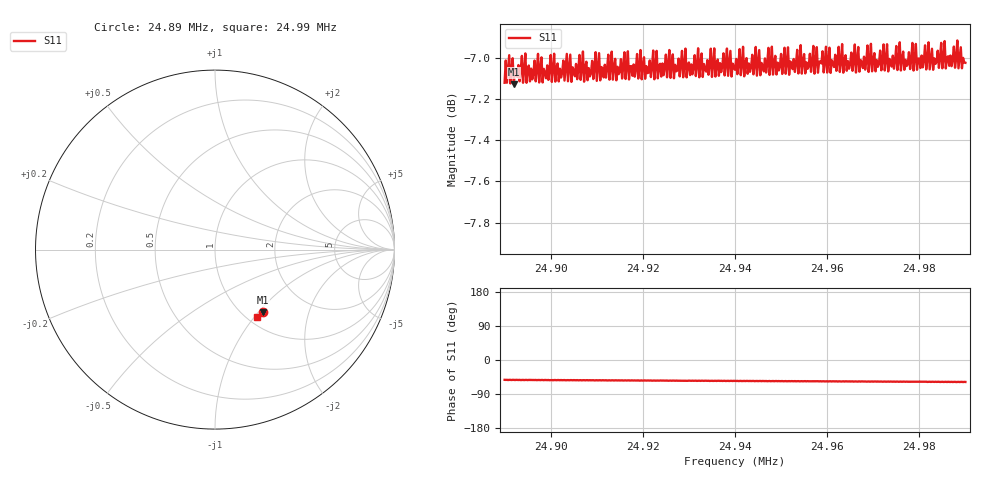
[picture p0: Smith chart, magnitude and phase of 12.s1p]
# Hz S RI R 50
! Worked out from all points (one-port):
!   401 points, 24.89 MHz to 24.99 MHz, reference 50 ohm
!   lowest |S11| = -7.1 dB at 24.892 MHz (marker M1), VSWR 2.57, Z = 61.4 - j53.1 ohm
!   |S11| at or under -10 dB: nowhere
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2.489e7  0.2693 -0.3487
2.489125e7  0.2687 -0.3489
2.4892e7  0.2684 -0.3489
2.48975e7  0.2668 -0.3507
2.489875e7  0.2682 -0.3525
2.490025e7  0.2658 -0.3516
2.49025e7  0.2647 -0.3553
2.490375e7  0.2649 -0.3525
2.4915e7  0.2606 -0.3587
2.491625e7  0.261 -0.3561
2.49175e7  0.2626 -0.3588
2.49225e7  0.2586 -0.3577
2.49275e7  0.2566 -0.3618
2.492875e7  0.257 -0.3595
2.4934e7  0.2561 -0.3653
2.4935e7  0.2548 -0.3612
2.493625e7  0.2571 -0.3648
2.49385e7  0.2538 -0.3622
2.494e7  0.2528 -0.3647
2.4946e7  0.2529 -0.366
2.49475e7  0.2507 -0.3646
2.49525e7  0.2488 -0.3676
2.496275e7  0.2462 -0.3686
2.4965e7  0.2445 -0.3721
2.49725e7  0.2428 -0.3712
2.49775e7  0.2401 -0.3749
2.4985e7  0.2387 -0.3745
2.499e7  0.2364 -0.3776
